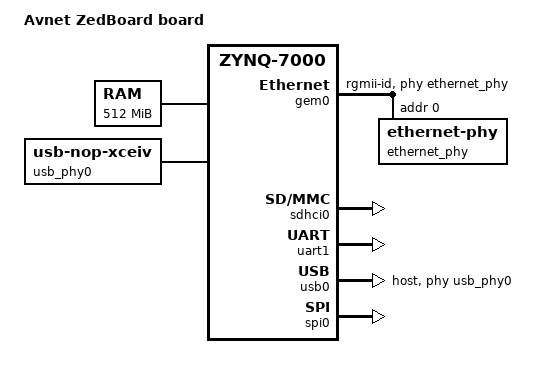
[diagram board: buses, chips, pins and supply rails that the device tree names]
// SPDX-License-Identifier: GPL-2.0
/*
 *  Copyright (C) 2011 - 2014 Xilinx
 *  Copyright (C) 2012 National Instruments Corp.
 */
/dts-v1/;
#include "zynq-7000.dtsi"
#include <dt-bindings/interrupt-controller/irq.h>

/ {
	model = "Avnet ZedBoard board";
	compatible = "avnet,zynq-zed", "xlnx,zynq-zed", "xlnx,zynq-7000";

	aliases {
		ethernet0 = &gem0;
		serial0 = &uart1;
		mmc0 = &sdhci0;
	};

	memory@0 {
		device_type = "memory";
		reg = <0x0 0x20000000>;
	};

	chosen {
		bootargs = "";
		stdout-path = "serial0:115200n8";
	};

	usb_phy0: phy0 {
		compatible = "usb-nop-xceiv";
		#phy-cells = <0>;
	};
};

&clkc {
	ps-clk-frequency = <33333333>;
};

&gem0 {
	status = "okay";
	phy-mode = "rgmii-id";
	phy-handle = <&ethernet_phy>;

	ethernet_phy: ethernet-phy@0 {
		reg = <0>;
		device_type = "ethernet-phy";
	};
};

&sdhci0 {
	status = "okay";
};

&uart1 {
	status = "okay";
};

&usb0 {
	status = "okay";
	dr_mode = "host";
	usb-phy = <&usb_phy0>;
};


&amba {
	rx_dma: rx-dmac@44a30000 {
		compatible = "adi,axi-dmac-1.00.a";
		reg = <0x44A30000 0x1000>;
		#dma-cells = <1>;
		interrupts = <0 57 IRQ_TYPE_LEVEL_HIGH>;
		interrupt-parent = <&intc>;
		clocks = <&clkc 16>;

		adi,channels {
			#size-cells = <0>;
			#address-cells = <1>;

			dma-channel@0 {
				reg = <0>;
				adi,source-bus-width = <16>;
				adi,source-bus-type = <2>;
				adi,destination-bus-width = <64>;
				adi,destination-bus-type = <0>;
			};
		};
	};

	cf_ad9467_core_0: cf-ad9467-core-lpc@44a00000 {
		compatible = "adi,axi-adc-10.0.a-new";
		reg = <0x44A00000 0x10000>;

		clocks = <&clkc 16>;
	};
};

&spi0 {
	status = "okay";
};

#define fmc_spi spi0

#include "adi-ad9467-fmc-250ebz.dtsi"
